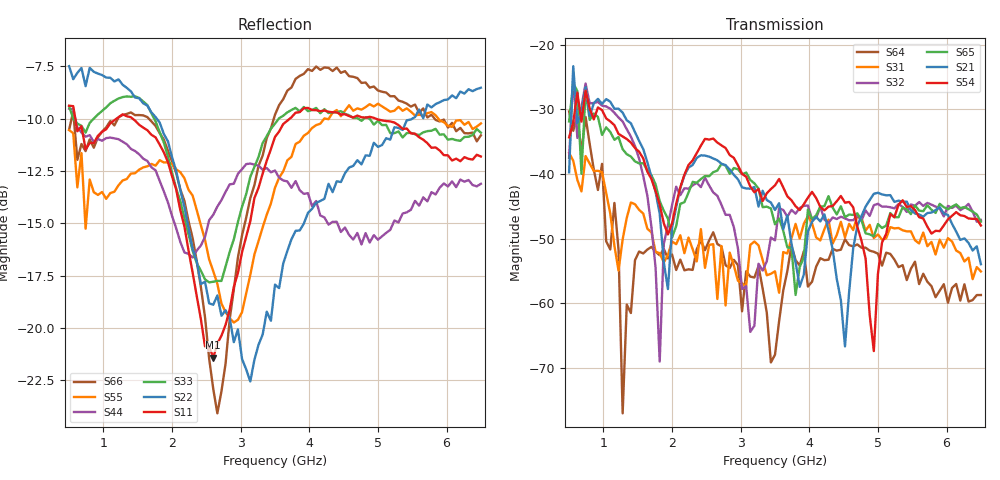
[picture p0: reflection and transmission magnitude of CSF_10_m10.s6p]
!Keysight Technologies,M9804A,MY58100912,A.14.10.03
!Date: Thursday, April 27, 2023 10:28:33
!Correction: S11(C  6-Port  )
!S12(C  6-Port  )
!S13(C  6-Port  )
!S14(C  6-Port  )
!S15(C  6-Port  )
!S16(C  6-Port  )
!S21(C  6-Port  )
!S22(C  6-Port  )
!S23(C  6-Port  )
!S24(C  6-Port  )
!S25(C  6-Port  )
!S26(C  6-Port  )
!S31(C  6-Port  )
!S32(C  6-Port  )
!S33(C  6-Port  )
!S34(C  6-Port  )
!S35(C  6-Port  )
!S36(C  6-Port  )
!S41(C  6-Port  )
!S42(C  6-Port  )
!S43(C  6-Port  )
!S44(C  6-Port  )
!S45(C  6-Port  )
!S46(C  6-Port  )
!S51(C  6-Port  )
!S52(C  6-Port  )
!S53(C  6-Port  )
!S54(C  6-Port  )
!S55(C  6-Port  )
!S56(C  6-Port  )
!S61(C  6-Port  )
!S62(C  6-Port  )
!S63(C  6-Port  )
!S64(C  6-Port  )
!S65(C  6-Port  )
!S66(C  6-Port  )
!S6P File: Measurement: :
# Hz S  RI  R 50
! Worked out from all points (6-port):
!   101 points, 500 MHz to 6.5 GHz, reference 50 ohm
!   strongest paths, dB at 500 MHz, 2 GHz, 3.5 GHz, 5 GHz, 6.5 GHz:
!     S54: -34.3, -47.6, -41.7, -55.4, -48.0
!     S21: -39.7, -48.3, -45.5, -42.9, -53.9
!     S65: -31.9, -49.8, -47.8, -47.7, -47.4
!     S32: -37.5, -44.8, -50.3, -44.6, -47.1
!     S31: -36.7, -50.4, -55.0, -49.3, -55.0
!     S64: -30.3, -52.4, -67.9, -52.3, -58.7
!   lowest |S11| = -21.4 dB at 2.6 GHz (marker M1), VSWR 1.19, Z = 42.5 + j2.2 ohm
!   |S11| at or under -10 dB: 590.2 MHz to 1.188 GHz (597.7 MHz wide, 67.2 % of centre); 1.428 GHz to 3.713 GHz (2.285 GHz wide, 88.9 % of centre); 4.974 GHz to end of sweep
